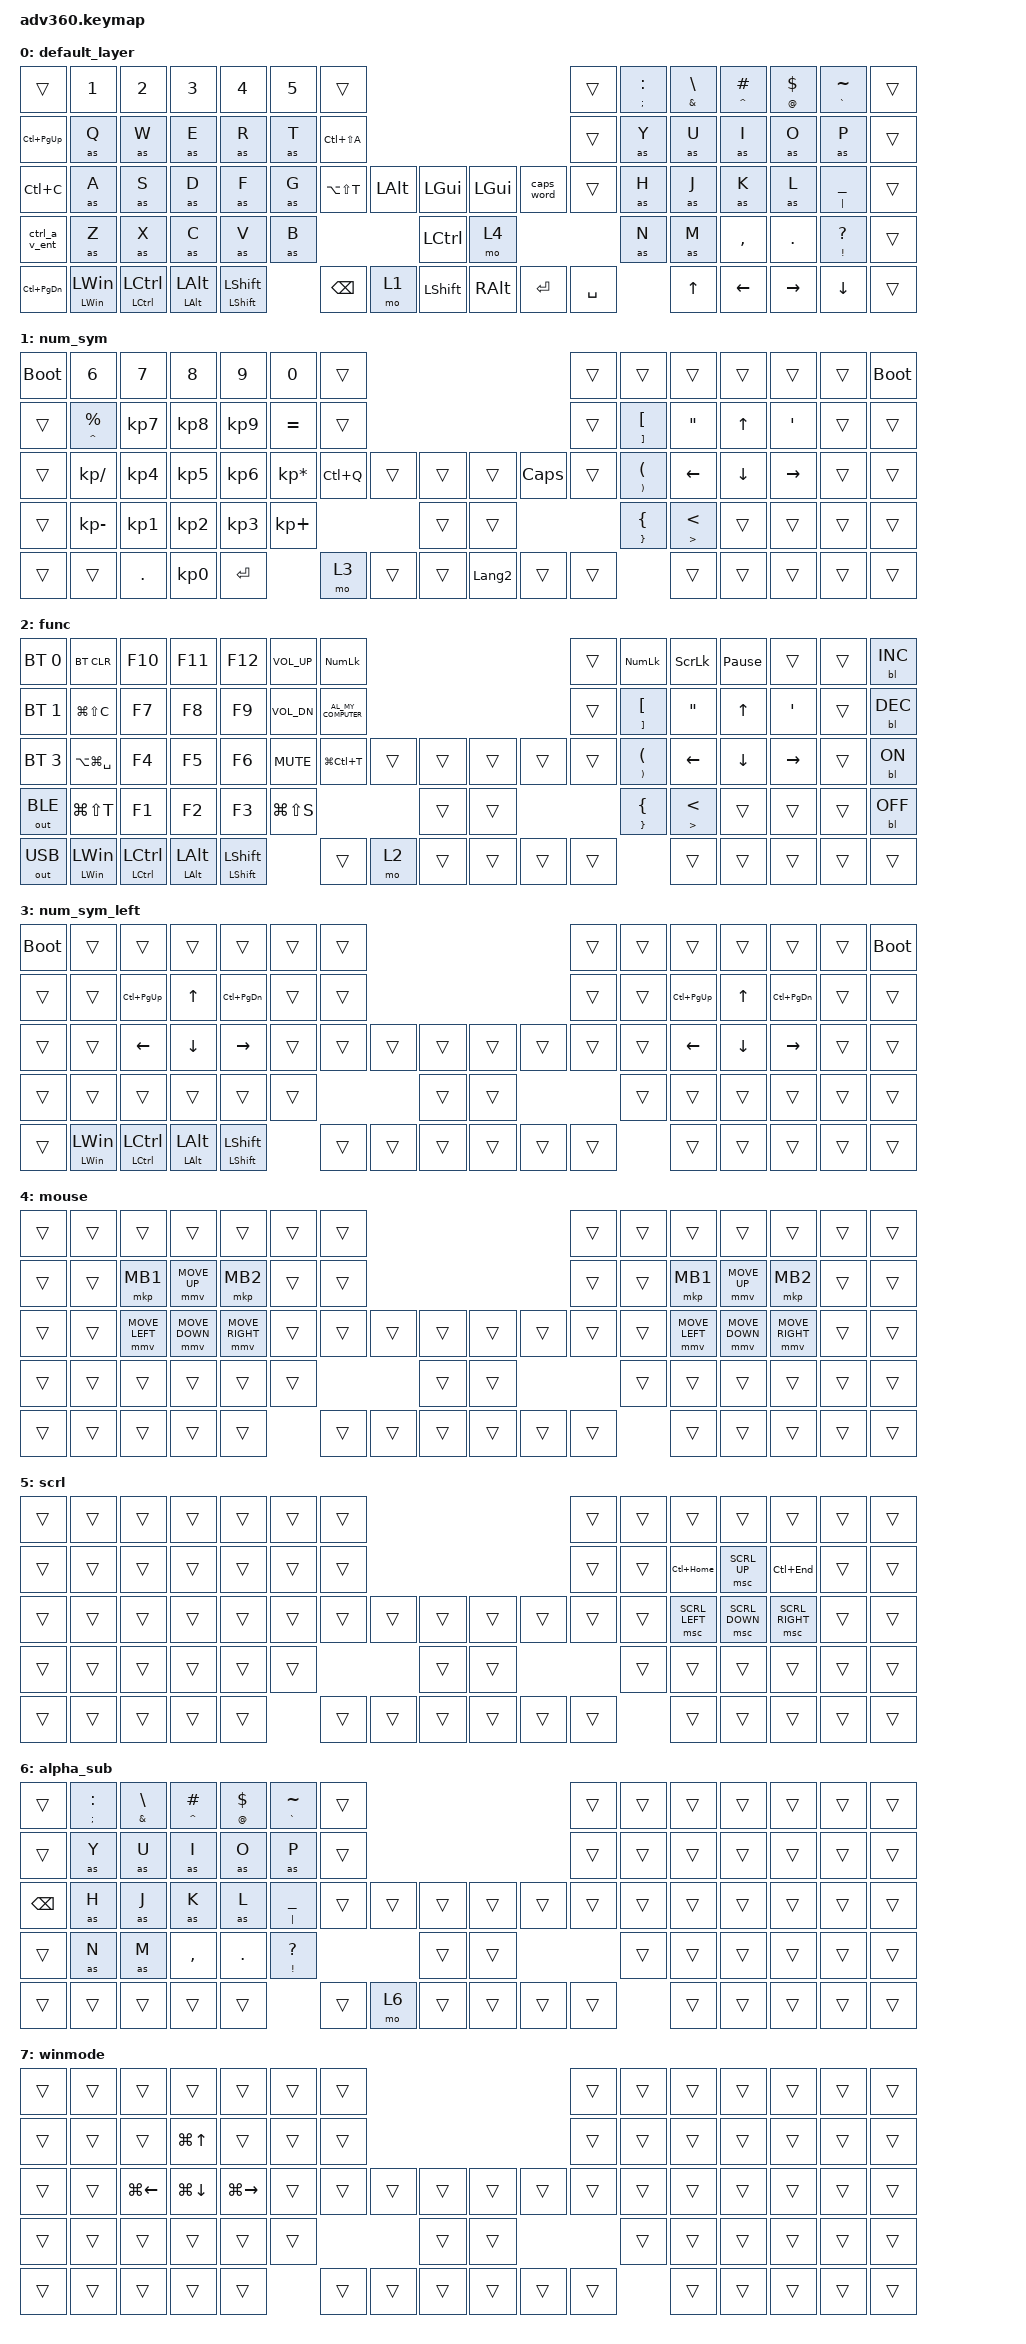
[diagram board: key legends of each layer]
#define ZMK_POINTING_DEFAULT_MOVE_VAL 1200// default: 600
#define ZMK_POINTING_DEFAULT_SCRL_VAL 50    // default: 10

#include <behaviors.dtsi>
#include <dt-bindings/zmk/backlight.h>
#include <dt-bindings/zmk/bt.h>
#include <dt-bindings/zmk/keys.h>
#include <dt-bindings/zmk/outputs.h>
#include <dt-bindings/zmk/pointing.h>

/ {
    behaviors {
        #include "macros.dtsi"
      #include "version.dtsi"
      #ifndef VERSION_MACRO

        macro_ver: macro_ver {
            compatible = "zmk,behavior-macro";
            label = "macro_version";
            #binding-cells = <0>;
            bindings = <&kp RET>;
        };

        delete_rest: delete_rest {
            compatible = "zmk,behavior-macro";
            #binding-cells = <0>;
            bindings = <&kp B>;
            label = "delete_rest_label";
        };

        all_sel: all_sel {
            compatible = "zmk,behavior-macro";
            #binding-cells = <0>;
            bindings = <&kp HOME &kp LS(END)>;
            label = "ALL_SEL";
        };

        new_macro: new_macro {
            compatible = "zmk,behavior-macro";
            label = "NEW_MACRO";
            #binding-cells = <0>;
            bindings = <&kp RET>;
        };

        #endif

        hm: homerow_mods {
            compatible = "zmk,behavior-hold-tap";
            label = "HOMEROW_MODS";
            #binding-cells = <2>;
            tapping-term-ms = <200>;
            quick_tap_ms = <175>;
            flavor = "tap-preferred";
            bindings = <&kp>, <&kp>;
        };

        cs: cs {
            compatible = "zmk,behavior-hold-tap";
            label = "CS";
            bindings = <&kp>, <&kp>;

            #binding-cells = <2>;
            flavor = "balanced";
            tapping-term-ms = <135>;
        };

        shifted: macro_shifted_kp {
            #binding-cells = <1>;
            label = "MACRO_SHIFTED_KP";
            compatible = "zmk,behavior-macro-one-param";
            bindings =
                <&macro_press>,
                <&kp LSHFT &macro_param_1to1>,
                <&macro_tap>,
                <&kp MACRO_PLACEHOLDER>,
                <&macro_release>,
                <&kp LSHFT>;
        };

        as_ht: autoshift_hold_tap {
            compatible = "zmk,behavior-hold-tap";
            label = "AUTOSHIFT_HOLD_TAP";
            #binding-cells = <2>;
            tapping-term-ms = <135>;
            flavor = "balanced";
            bindings = <&shifted>, <&kp>;
        };

        sk_mod: behavior_mo_tog {
            compatible = "zmk,behavior-hold-tap";
            #binding-cells = <2>;
            flavor = "tap-preferred";
            tapping-term-ms = <135>;
            bindings = <&kp>, <&sk>;
        };

        as: autoshift {
            compatible = "zmk,behavior-macro-one-param";
            #binding-cells = <1>;
            label = "AUTOSHIFT_KP";
            bindings =
                <&macro_press>,
                <&macro_param_1to1 &macro_param_1to2 &as_ht MACRO_PLACEHOLDER MACRO_PLACEHOLDER>,
                <&macro_pause_for_release>,
                <&macro_release>,
                <&macro_param_1to1 &macro_param_1to2 &as_ht MACRO_PLACEHOLDER MACRO_PLACEHOLDER>;
        };

        del_right_mac: del_right_mac {
            compatible = "zmk,behavior-macro";
            #binding-cells = <0>;
            bindings = <&kp LC(LS(RIGHT)) &kp BACKSPACE>;
            label = "DEL_RIGHT_MAC";
        };

        del_left_mac: del_left_mac {
            compatible = "zmk,behavior-macro";
            #binding-cells = <0>;
            bindings = <&kp LC(LS(LEFT)) &kp BACKSPACE>;
            label = "DEL_LEFT";
        };

        del_all: del_all {
            compatible = "zmk,behavior-macro";
            #binding-cells = <0>;
            bindings = <&kp HOME &kp LS(END) &kp DEL>;
            label = "DEL_ALL";
        };

        e_enter: e_enter {
            compatible = "zmk,behavior-macro";
            #binding-cells = <0>;
            bindings = <&kp END &kp ENTER>;
            label = "E_ENTER";
        };

        ctrl_a_v_ent: ctrl_v_v_ent {
            compatible = "zmk,behavior-macro";
            #binding-cells = <0>;
            bindings =
                <&kp LC(A)>,
                <&macro_wait_time 100>,
                <&kp LC(V)>,
                <&macro_wait_time 100>,
                <&kp ENTER>;

            label = "CTRL_V_V_ENT";
        };

        td_ang: td_ang {
            compatible = "zmk,behavior-tap-dance";
            label = "TD_ANG";
            #binding-cells = <0>;
            tapping-term-ms = <135>;
            bindings = <&mt GT LT>, <&kp GT &kp LT &kp LEFT>;
        };

        tog_on: toggle_layer_on_only {
            compatible = "zmk,behavior-toggle-layer";
            #binding-cells = <1>;
            display-name = "Toggle Layer On";
            toggle-mode = "on";
        };

        tog_off: toggle_layer_off_only {
            compatible = "zmk,behavior-toggle-layer";
            #binding-cells = <1>;
            display-name = "Toggle Layer Off";
            toggle-mode = "off";
        };
    };

    macros {
    };

    combos {
        compatible = "zmk,combos";
        combo_timeout_ms = <30>;

        to_func {
            bindings = <&mo 2>;
            key-positions = <31 30 66>;
            layers = <0>;
            slow-release;
        };

        to_alpah {
            bindings = <&mo 6>;
            key-positions = <66 31 32>;
            layers = <0>;
            slow-release;
        };

        to_arr2 {
            bindings = <&mo 7>;
            key-positions = <66 31 32 30>;
            layers = <0>;
            slow-release;
        };

        tab {
            bindings = <&kp TAB>;
            key-positions = <66 29>;
            layers = <0>;
            slow-release;
        };

        space {
            bindings = <&kp SPACE>;
            key-positions = <66 31>;
            layers = <0>;
        };

        enter {
            bindings = <&kp ENTER>;
            key-positions = <32 66>;
            layers = <0>;
        };

        home {
            bindings = <&kp HOME>;
            key-positions = <66 19>;
            layers = <0>;
        };

        end {
            bindings = <&kp END>;
            key-positions = <66 33>;
            layers = <0>;
        };

        esc {
            bindings = <&kp ESC>;
            key-positions = <17 66>;
            layers = <0>;
        };

        pgdn {
            bindings = <&kp PG_DN>;
            key-positions = <66 30>;
            layers = <0>;
        };

        pgup {
            bindings = <&kp PG_UP>;
            key-positions = <16 66>;
            layers = <0>;
        };

        del {
            bindings = <&kp DEL>;
            key-positions = <66 18>;
            layers = <0>;
        };

        ins {
            bindings = <&kp INS>;
            key-positions = <15 66>;
            layers = <0>;
        };

        sk_C {
            bindings = <&sk LEFT_CONTROL>;
            key-positions = <13 45>;
            layers = <0>;
        };

        sk_A {
            bindings = <&sk LEFT_ALT>;
            key-positions = <13 27>;
            layers = <0>;
        };

        sk_S {
            bindings = <&sk LEFT_SHIFT>;
            key-positions = <13 12>;
            layers = <0>;
        };

        sk_CS {
            bindings = <&sk LEFT_GUI>;
            key-positions = <45 27>;
            layers = <0>;
        };

        sk_CA {
            bindings = <&sk LC(LEFT_ALT)>;
            key-positions = <11 12>;
            layers = <0>;
        };

        sk_CAS {
            bindings = <&sk LEFT_GUI>;
            key-positions = <11 13>;
            layers = <0>;
        };

        sk_AS {
            bindings = <&sk LEFT_GUI>;
            key-positions = <11 12>;
            layers = <0>;
        };

        sk_CW {
            bindings = <&sk LEFT_GUI>;
            key-positions = <13 26>;
            layers = <0>;
        };

        dt_right {
            bindings = <&kp LG(LC(RIGHT))>;
            key-positions = <49 50>;
            layers = <0>;
        };

        dt_left {
            bindings = <&kp LG(LC(LEFT))>;
            key-positions = <48 49>;
            layers = <0>;
        };

        left_sel {
            bindings = <&kp LC(LS(LEFT_ARROW))>;
            key-positions = <56 55>;
            layers = <0>;
        };

        right_sel {
            bindings = <&kp LC(LS(RIGHT))>;
            key-positions = <57 56>;
            layers = <0>;
        };

        all_sel {
            bindings = <&kp B>;
            key-positions = <55 56 57>;
            layers = <0>;
        };

        del_right {
            bindings = <&del_right_mac>;
            key-positions = <32 31>;
            layers = <0>;
        };

        del_left {
            bindings = <&del_left_mac>;
            key-positions = <31 30>;
            layers = <0>;
        };

        del_all {
            bindings = <&del_all>;
            key-positions = <30 31 32>;
            layers = <0>;
        };

        mov_left {
            bindings = <&kp LC(LEFT)>;
            key-positions = <42 41>;
            layers = <0>;
        };

        mov_right {
            bindings = <&kp LC(RIGHT)>;
            key-positions = <42 43>;
            layers = <0>;
        };

        to_top {
            bindings = <&kp LC(A)>;
            key-positions = <27 56>;
        };

        ctrl_c {
            bindings = <&kp LC(C)>;
            key-positions = <49 66>;
            layers = <0>;
        };

        ctrl_Val_v {
            bindings = <&ctrl_a_v_ent>;
            key-positions = <50 66>;
            layers = <0>;
        };

        ctrl_x {
            bindings = <&kp LC(X)>;
            key-positions = <66 48>;
        };

        ctrl_z {
            bindings = <&kp LC(Z)>;
            key-positions = <66 47>;
        };

        wintab {
            bindings = <&kp LG(TAB)>;
            key-positions = <48 49 50>;
        };

        win_left {
            bindings = <&kp LG(LEFT)>;
            key-positions = <49 48 66>;
        };

        win_right {
            bindings = <&kp LG(RIGHT)>;
            key-positions = <49 66 50>;
        };

        win_up {
            bindings = <&kp LG(UP)>;
            key-positions = <49 48 50 66>;
        };

        win_down {
            bindings = <&kp LG(DOWN)>;
            key-positions = <50 66 48>;
        };

        short_1 {
            bindings = <&kp LG(NUMBER_1)>;
            key-positions = <48 65>;
        };

        short_2 {
            bindings = <&kp LG(NUMBER_2)>;
            key-positions = <65 49>;
        };

        short_3 {
            bindings = <&kp LG(NUMBER_3)>;
            key-positions = <65 50>;
        };

        short_4 {
            bindings = <&kp LG(NUMBER_4)>;
            key-positions = <65 30>;
        };

        short_5 {
            bindings = <&kp LG(NUMBER_5)>;
            key-positions = <65 31>;
        };

        short_6 {
            bindings = <&kp LG(NUMBER_6)>;
            key-positions = <65 32>;
        };

        short_7 {
            bindings = <&kp LG(NUMBER_7)>;
            key-positions = <65 16>;
        };

        short_8 {
            bindings = <&kp LG(NUMBER_8)>;
            key-positions = <65 17>;
        };

        short_9 {
            bindings = <&kp LG(NUMBER_9)>;
            key-positions = <65 18>;
        };

        engkor {
            bindings = <&kp RIGHT_ALT>;
            key-positions = <51 66>;
        };
    };

    keymap {
        compatible = "zmk,keymap";

        default_layer {
            bindings = <
&trans             &kp NUMBER_1               &kp NUMBER_2         &kp NUMBER_3               &kp NUMBER_4                   &kp N5  &trans                                                                      &trans     &cs SEMI COLON  &cs AMPERSAND BACKSLASH  &cs CARET HASH  &cs AT_SIGN DLLR  &cs GRAVE TILDE    &trans
&kp LC(PG_UP)      &as Q                      &as W                &as E                      &as R                          &as T   &kp LC(LS(A))                                                               &trans     &as Y           &as U                    &as I           &as O             &as P              &trans
&kp LC(C)          &as A                      &as S                &as D                      &as F                          &as G   &kp LA(LS(T))  &kp LEFT_ALT  &kp LEFT_GUI        &kp LEFT_GUI   &caps_word  &trans     &as H           &as J                    &as K           &as L             &cs PIPE UNDER     &trans
&ctrl_a_v_ent      &as Z                      &as X                &as C                      &as V                          &as B                                &kp LCTRL           &mo 4                                 &as N           &as M                    &kp COMMA       &kp DOT           &cs EXCL QUESTION  &trans
&kp LC(PAGE_DOWN)  &sk_mod LEFT_WIN LEFT_WIN  &sk_mod LCTRL LCTRL  &sk_mod LEFT_ALT LEFT_ALT  &sk_mod LEFT_SHIFT LEFT_SHIFT          &kp BSPC       &mo 1         &kp LEFT_SHIFT      &kp RIGHT_ALT  &kp ENTER   &kp SPACE                  &kp UP                   &kp LEFT        &kp RIGHT         &kp DOWN           &trans
            >;
        };

        num_sym {
            bindings = <
&bootloader  &kp NUMBER_6       &kp N7           &kp N8           &kp N9           &kp N0           &trans                                                   &trans  &trans                                  &trans                      &trans    &trans     &trans  &bootloader
&trans       &cs CARET PERCENT  &kp KP_NUMBER_7  &kp KP_NUMBER_8  &kp KP_NUMBER_9  &kp EQUAL        &trans                                                   &trans  &cs RIGHT_BRACKET LEFT_BRACKET          &kp DOUBLE_QUOTES           &kp UP    &kp SQT    &trans  &trans
&trans       &kp KP_DIVIDE      &kp KP_NUMBER_4  &kp KP_NUMBER_5  &kp KP_NUMBER_6  &kp KP_MULTIPLY  &kp LC(Q)  &trans  &trans      &trans          &kp CAPS  &trans  &cs RIGHT_PARENTHESIS LEFT_PARENTHESIS  &kp LEFT                    &kp DOWN  &kp RIGHT  &trans  &trans
&trans       &kp KP_MINUS       &kp KP_NUMBER_1  &kp KP_NUMBER_2  &kp KP_NUMBER_3  &kp KP_PLUS                         &trans      &trans                            &cs RIGHT_BRACE LEFT_BRACE              &cs GREATER_THAN LESS_THAN  &trans    &trans     &trans  &trans
&trans       &trans             &kp PERIOD       &kp KP_NUMBER_0  &kp ENTER                         &mo 3      &trans  &trans      &kp LANGUAGE_2  &trans    &trans                                          &trans                      &trans    &trans     &trans  &trans
            >;
        };

        func {
            bindings = <
&bt BT_SEL 0  &bt BT_CLR                 &kp F10              &kp F11                    &kp F12                        &kp C_VOL_UP   &kp KP_NUM                                                &trans  &kp KP_NUMLOCK                          &kp SCROLLLOCK              &kp PAUSE_BREAK  &trans     &trans  &bl BL_INC
&bt BT_SEL 1  &kp LG(LS(C))              &kp F7               &kp F8                     &kp F9                         &kp C_VOL_DN   &kp C_AL_MY_COMPUTER                                      &trans  &cs RIGHT_BRACKET LEFT_BRACKET          &kp DOUBLE_QUOTES           &kp UP           &kp SQT    &trans  &bl BL_DEC
&bt BT_SEL 3  &kp LA(LG(SPACE))          &kp F4               &kp F5                     &kp F6                         &kp K_MUTE     &kp LG(LC(T))         &trans  &trans      &trans  &trans  &trans  &cs RIGHT_PARENTHESIS LEFT_PARENTHESIS  &kp LEFT                    &kp DOWN         &kp RIGHT  &trans  &bl BL_ON
&out OUT_BLE  &kp LG(LS(T))              &kp F1               &kp F2                     &kp F3                         &kp LG(LS(S))                                &trans      &trans                  &as_ht RIGHT_BRACE LEFT_BRACE           &cs GREATER_THAN LESS_THAN  &trans           &trans     &trans  &bl BL_OFF
&out OUT_USB  &sk_mod LEFT_WIN LEFT_WIN  &sk_mod LCTRL LCTRL  &sk_mod LEFT_ALT LEFT_ALT  &sk_mod LEFT_SHIFT LEFT_SHIFT                 &trans                &mo 2   &trans      &trans  &trans  &trans                                          &trans                      &trans           &trans     &trans  &trans
            >;
        };

        num_sym_left {
            bindings = <
&bootloader  &trans                     &trans               &trans                     &trans                         &trans  &trans                                      &trans  &trans  &trans         &trans    &trans         &trans  &bootloader
&trans       &trans                     &kp LC(PG_UP)        &kp UP                     &kp LC(PG_DN)                  &trans  &trans                                      &trans  &trans  &kp LC(PG_UP)  &kp UP    &kp LC(PG_DN)  &trans  &trans
&trans       &trans                     &kp LEFT             &kp DOWN                   &kp RIGHT                      &trans  &trans  &trans  &trans      &trans  &trans  &trans  &trans  &kp LEFT       &kp DOWN  &kp RIGHT      &trans  &trans
&trans       &trans                     &trans               &trans                     &trans                         &trans                  &trans      &trans                  &trans  &trans         &trans    &trans         &trans  &trans
&trans       &sk_mod LEFT_WIN LEFT_WIN  &sk_mod LCTRL LCTRL  &sk_mod LEFT_ALT LEFT_ALT  &sk_mod LEFT_SHIFT LEFT_SHIFT          &trans  &trans  &trans      &trans  &trans  &trans          &trans         &trans    &trans         &trans  &trans
            >;
        };

        mouse {
            bindings = <
&trans  &trans  &trans          &trans          &trans           &trans  &trans                                      &trans  &trans  &trans          &trans          &trans           &trans  &trans
&trans  &trans  &mkp MB1        &mmv MOVE_UP    &mkp MB2         &trans  &trans                                      &trans  &trans  &mkp MB1        &mmv MOVE_UP    &mkp MB2         &trans  &trans
&trans  &trans  &mmv MOVE_LEFT  &mmv MOVE_DOWN  &mmv MOVE_RIGHT  &trans  &trans  &trans  &trans      &trans  &trans  &trans  &trans  &mmv MOVE_LEFT  &mmv MOVE_DOWN  &mmv MOVE_RIGHT  &trans  &trans
&trans  &trans  &trans          &trans          &trans           &trans                  &trans      &trans                  &trans  &trans          &trans          &trans           &trans  &trans
&trans  &trans  &trans          &trans          &trans                   &trans  &trans  &trans      &trans  &trans  &trans          &trans          &trans          &trans           &trans  &trans
            >;
        };

        scrl {
            bindings = <
&trans  &trans  &trans  &trans  &trans  &trans  &trans                                      &trans  &trans  &trans          &trans          &trans           &trans  &trans
&trans  &trans  &trans  &trans  &trans  &trans  &trans                                      &trans  &trans  &kp LC(HOME)    &msc SCRL_UP    &kp LC(END)      &trans  &trans
&trans  &trans  &trans  &trans  &trans  &trans  &trans  &trans  &trans      &trans  &trans  &trans  &trans  &msc SCRL_LEFT  &msc SCRL_DOWN  &msc SCRL_RIGHT  &trans  &trans
&trans  &trans  &trans  &trans  &trans  &trans                  &trans      &trans                  &trans  &trans          &trans          &trans           &trans  &trans
&trans  &trans  &trans  &trans  &trans          &trans  &trans  &trans      &trans  &trans  &trans          &trans          &trans          &trans           &trans  &trans
            >;
        };

        alpha_sub {
            bindings = <
&trans         &cs SEMI COLON  &cs AMPERSAND BACKSLASH  &cs CARET HASH  &cs AT_SIGN DLLR  &cs GRAVE TILDE    &trans                                      &trans  &trans  &trans  &trans  &trans  &trans  &trans
&trans         &as Y           &as U                    &as I           &as O             &as P              &trans                                      &trans  &trans  &trans  &trans  &trans  &trans  &trans
&kp BACKSPACE  &as H           &as J                    &as K           &as L             &cs PIPE UNDER     &trans  &trans  &trans      &trans  &trans  &trans  &trans  &trans  &trans  &trans  &trans  &trans
&trans         &as N           &as M                    &kp COMMA       &kp DOT           &cs EXCL QUESTION                  &trans      &trans                  &trans  &trans  &trans  &trans  &trans  &trans
&trans         &trans          &trans                   &trans          &trans                               &trans  &mo 6   &trans      &trans  &trans  &trans          &trans  &trans  &trans  &trans  &trans
            >;
        };

        winmode {
            bindings = <
&trans  &trans  &trans        &trans        &trans         &trans  &trans                                      &trans  &trans  &trans  &trans  &trans  &trans  &trans
&trans  &trans  &trans        &kp LG(UP)    &trans         &trans  &trans                                      &trans  &trans  &trans  &trans  &trans  &trans  &trans
&trans  &trans  &kp LG(LEFT)  &kp LG(DOWN)  &kp LG(RIGHT)  &trans  &trans  &trans  &trans      &trans  &trans  &trans  &trans  &trans  &trans  &trans  &trans  &trans
&trans  &trans  &trans        &trans        &trans         &trans                  &trans      &trans                  &trans  &trans  &trans  &trans  &trans  &trans
&trans  &trans  &trans        &trans        &trans                 &trans  &trans  &trans      &trans  &trans  &trans          &trans  &trans  &trans  &trans  &trans
            >;
        };
    };

    conditional_layers {
        compatible = "zmk,conditional-layers";

        scroll_layer {
            if-layers = <1 4>;
            then-layer = <5>;
        };
    };
};
